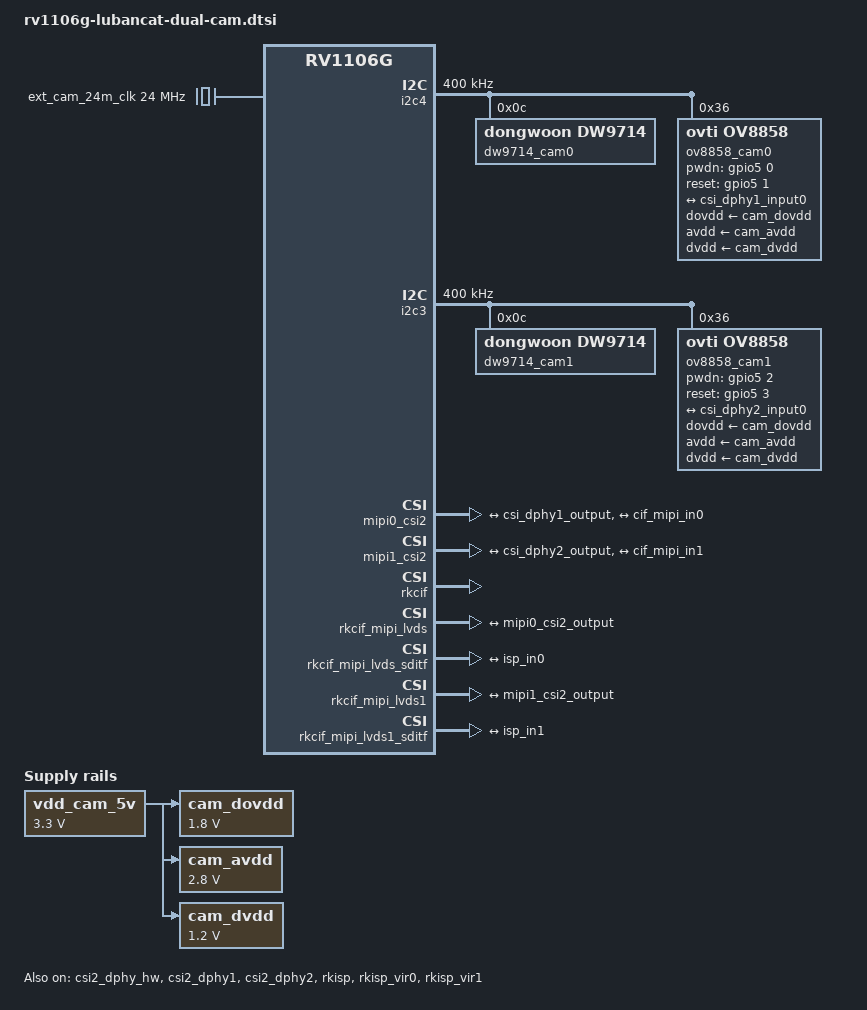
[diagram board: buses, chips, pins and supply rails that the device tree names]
// SPDX-License-Identifier: (GPL-2.0+ OR MIT)


/{
	ext_cam_24m_clk: external-camera-24m-clock {
		compatible = "fixed-clock";
		#clock-cells = <0>;
		clock-frequency = <24000000>;
		clock-output-names = "ext_cam_24m_clk";
	}; 

	vdd_cam_5v: vdd-cam-5v-regulator {
		compatible = "regulator-fixed";
		regulator-name = "vdd_cam_5v";
		regulator-always-on;
		regulator-boot-on;
		regulator-min-microvolt = <3300000>;
		regulator-max-microvolt = <3300000>;
	};

	cam_dovdd: cam-dovdd {
		compatible = "regulator-fixed";
		regulator-name = "cam_dovdd";
		regulator-always-on;
		regulator-boot-on;
		regulator-min-microvolt = <1800000>;
		regulator-max-microvolt = <1800000>;
		vin-supply = <&vdd_cam_5v>;
	};

	cam_avdd: cam-avdd {
		compatible = "regulator-fixed";
		regulator-name = "cam_avdd";
		regulator-always-on;
		regulator-boot-on;
		regulator-min-microvolt = <2800000>;
		regulator-max-microvolt = <2800000>;
		vin-supply = <&vdd_cam_5v>;
	};

	cam_dvdd: cam-dvdd {
		compatible = "regulator-fixed";
		regulator-name = "cam_dvdd";
		regulator-always-on;
		regulator-boot-on;
		regulator-min-microvolt = <1200000>;
		regulator-max-microvolt = <1200000>;
		vin-supply = <&vdd_cam_5v>;
	};
};


&csi2_dphy_hw {
	status = "okay";
};

&csi2_dphy1 {
	status = "okay";

	ports {
		#address-cells = <1>;
		#size-cells = <0>;

		port@0 {
			reg = <0>;
			#address-cells = <1>;
			#size-cells = <0>;

			csi_dphy1_input0: endpoint@0 {
				reg = <0>;
				remote-endpoint = <&ov8858_cam0_out>;
				data-lanes = <1 2>;
			};
		};

		port@1 {
			reg = <1>;
			#address-cells = <1>;
			#size-cells = <0>;

			csi_dphy1_output: endpoint@0 {
				reg = <0>;
				remote-endpoint = <&mipi0_csi2_input>;
			};
		};
	};
};

&csi2_dphy2 {
	status = "okay";

	ports {
		#address-cells = <1>;
		#size-cells = <0>;

		port@0 {
			reg = <0>;
			#address-cells = <1>;
			#size-cells = <0>;

			csi_dphy2_input0: endpoint@0 {
				reg = <0>;
				remote-endpoint = <&ov8858_cam1_out>;
				data-lanes = <1 2>;
			};
		};

		port@1 {
			reg = <1>;
			#address-cells = <1>;
			#size-cells = <0>;

			csi_dphy2_output: endpoint@0 {
				reg = <0>;
				remote-endpoint = <&mipi1_csi2_input>;
			};
		};
	};
};

&i2c4 {
	status = "okay";
	clock-frequency = <400000>;
	pinctrl-names = "default";
	pinctrl-0 = <&i2c4m2_xfer>;

	dw9714_cam0: dw9714-cam0@c {
		status = "okay";
		compatible = "dongwoon,dw9714";
		reg = <0xc>;
		rockchip,camera-module-index = <0>;
		rockchip,vcm-max-current = <100>;
		rockchip,vcm-start-current = <0>;
		rockchip,vcm-rated-current = <100>;
		rockchip,vcm-step-mode = <0xd>;
		rockchip,vcm-dlc-enable = <0>;
		rockchip,vcm-mclk = <0>;	
		rockchip,vcm-t-src = <0>;
		rockchip,camera-module-facing = "back";
	};

	ov8858_cam0: ov8858-cam0@36 {
		compatible = "ovti,ov8858";
		status = "okay";
		reg = <0x36>;
		clocks = <&ext_cam_24m_clk>;
		clock-names = "xvclk";
		pwdn-gpios = <&gpio5 0 GPIO_ACTIVE_HIGH>;
		reset-gpios = <&gpio5 1 GPIO_ACTIVE_HIGH>;

		dovdd-supply= <&cam_dovdd>; /* 1.8v */
		avdd-supply = <&cam_avdd>;  /* 2.8v */
		dvdd-supply = <&cam_dvdd>;  /* 1.2v */

		rockchip,camera-module-index = <0>;
		rockchip,camera-module-facing = "back";
		rockchip,camera-module-name = "HS5885-BNSM1018-V01";
		rockchip,camera-module-lens-name = "default";
		lens-focus = <&dw9714_cam0>;

		port {
			/* MIPI CSI-2 bus endpoint */
			ov8858_cam0_out: endpoint {
				remote-endpoint = <&csi_dphy1_input0>;
				data-lanes = <1 2>;
			};
		};
	};
};

&i2c3 {
    status = "okay";
    clock-frequency = <400000>;
    pinctrl-names = "default";
    pinctrl-0 = <&i2c3m2_xfer>;

	dw9714_cam1: dw9714-cam1@c {
		status = "okay";
		compatible = "dongwoon,dw9714";
		reg = <0xc>;
		rockchip,camera-module-index = <0>;
		rockchip,vcm-max-current = <100>;
		rockchip,vcm-start-current = <0>;
		rockchip,vcm-rated-current = <100>;
		rockchip,vcm-step-mode = <0xd>;
		rockchip,vcm-dlc-enable = <0>;
		rockchip,vcm-mclk = <0>;	
		rockchip,vcm-t-src = <0>;
		rockchip,camera-module-facing = "back";
	};

	ov8858_cam1: ov8858-cam1@36 {
		compatible = "ovti,ov8858";
		status = "okay";
		reg = <0x36>;
		clocks = <&ext_cam_24m_clk>;
		clock-names = "xvclk";
		pwdn-gpios = <&gpio5 2 GPIO_ACTIVE_HIGH>;
		reset-gpios = <&gpio5 3 GPIO_ACTIVE_HIGH>;

		dovdd-supply= <&cam_dovdd>; /* 1.8v */
		avdd-supply = <&cam_avdd>;  /* 2.8v */
		dvdd-supply = <&cam_dvdd>;  /* 1.2v */

		rockchip,camera-module-index = <1>;
		rockchip,camera-module-facing = "back";
		rockchip,camera-module-name = "HS5885-BNSM1018-V01";
		rockchip,camera-module-lens-name = "default";
		lens-focus = <&dw9714_cam0>;

		port {
			/* MIPI CSI-2 bus endpoint */
			ov8858_cam1_out: endpoint {
				remote-endpoint = <&csi_dphy2_input0>;
				data-lanes = <1 2>;
			};
		};
	};
};

&mipi0_csi2 {
	status = "okay";

	ports {
		#address-cells = <1>;
		#size-cells = <0>;

		port@0 {
			reg = <0>;
			#address-cells = <1>;
			#size-cells = <0>;

			mipi0_csi2_input: endpoint@1 {
				reg = <1>;
				remote-endpoint = <&csi_dphy1_output>;
			};
		};

		port@1 {
			reg = <1>;
			#address-cells = <1>;
			#size-cells = <0>;

			mipi0_csi2_output: endpoint@0 {
				reg = <0>;
				remote-endpoint = <&cif_mipi_in0>;
			};
		};
	};
};

&mipi1_csi2 {
	status = "okay";

	ports {
		#address-cells = <1>;
		#size-cells = <0>;

		port@0 {
			reg = <0>;
			#address-cells = <1>;
			#size-cells = <0>;

			mipi1_csi2_input: endpoint@1 {
				reg = <1>;
				remote-endpoint = <&csi_dphy2_output>;
			};
		};

		port@1 {
			reg = <1>;
			#address-cells = <1>;
			#size-cells = <0>;

			mipi1_csi2_output: endpoint@0 {
				reg = <0>;
				remote-endpoint = <&cif_mipi_in1>;
			};
		};
	};
};

&rkcif {
	status = "okay";
	pinctrl-names = "default";
	pinctrl-0 = <&mipi_pins>;
};

&rkcif_mipi_lvds {
	status = "okay";

	port {
		/* MIPI CSI-2 endpoint */
		cif_mipi_in0: endpoint {
			remote-endpoint = <&mipi0_csi2_output>;
		};
	};
};

&rkcif_mipi_lvds_sditf {
	status = "okay";

	port {
		/* MIPI CSI-2 endpoint */
		mipi_lvds0_sditf: endpoint {
			remote-endpoint = <&isp_in0>;
		};
	};
};

&rkcif_mipi_lvds1 {
	status = "okay";

	port {
		/* MIPI CSI-2 endpoint */
		cif_mipi_in1: endpoint {
			remote-endpoint = <&mipi1_csi2_output>;
		};
	};
};

&rkcif_mipi_lvds1_sditf {
	status = "okay";

	port {
		/* MIPI CSI-2 endpoint */
		mipi_lvds1_sditf: endpoint {
			remote-endpoint = <&isp_in1>;
		};
	};
};

&rkisp {
	status = "okay";
};

&rkisp_vir0 {
	status = "okay";

	port@0 {
		isp_in0: endpoint {
			remote-endpoint = <&mipi_lvds0_sditf>;
		};
	};
};

&rkisp_vir1 {
	status = "okay";

	port@0 {
		isp_in1: endpoint {
			remote-endpoint = <&mipi_lvds1_sditf>;
		};
	};
};
